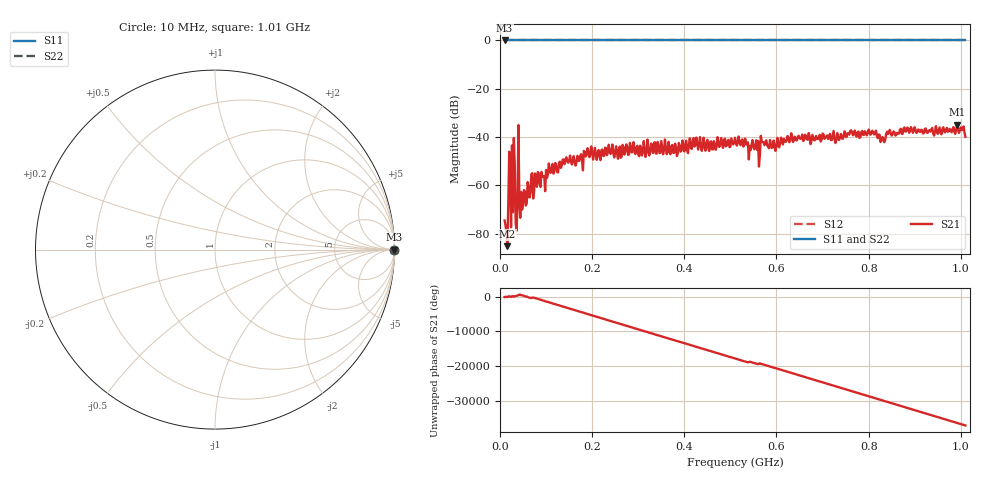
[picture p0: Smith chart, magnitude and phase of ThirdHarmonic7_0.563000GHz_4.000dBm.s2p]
! 8/17/2025 5:16:27 PM
! C:\ANRITSUVNA\TEMP\TEMP.S2P
! CHANNEL.1
! TR.MEASUREMENT
! RAW.DATA
! RF.CORRECTION.OFF
! AVERAGING.OFF
! IF.BANDWIDTH: 5KHZ
! SWEEPTYPE:  FREQ.SWEEP(Linear)
! Reference Plane Port Info
! PORT:  PORT1  PORT2
! DISTANCE:  0  m  0  m
! TIME:  0  s  0  s
! PHASE.OFFSET:  0  deg.  0  deg.
! LOSS:  0  dB  0  dB
! REF.LOSS:  0  dB  0  dB
! REF.FREQ:  0  Hz  0  Hz
! Power Info
! POWER:  -20  dBm  -20  dBm
! EFF.POWER:  -20  dBm  -20  dBm
! SOURCE.ATTEN:  0  dB  0  dB
! TEST.ATTEN:  0  dB  0  dB
# GHZ S RI R 50.0
! FREQ.GHZ  S11RE  S11IM  S21RE  S21IM  S12RE  S12IM  S22RE  S22IM
!; PortSelection: Port_12
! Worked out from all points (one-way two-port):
!   501 points, 10 MHz to 1.01 GHz, reference 50 ohm
!   highest |S21| = -34.94 dB at 992 MHz (marker M1); lowest = -85.2 dB at 16 MHz (marker M2)
!   lowest |S11| = 0.0 dB at 10 MHz (marker M3)
!   |S11| at or under -10 dB: nowhere
!   |S22| runs from 0.0 to 0.0 dB; largest |S21 - S12| = 1
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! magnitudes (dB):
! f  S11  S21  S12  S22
! 10 MHz  0.0  -74.6  0.0  0.0
! 14 MHz  0.0  -79.8  0.0  0.0
! 16 MHz  0.0  -85.2  0.0  0.0
! 20 MHz  0.0  -46.1  0.0  0.0
! 22 MHz  0.0  -55.4  0.0  0.0
! 30 MHz  0.0  -40.4  0.0  0.0
! 32 MHz  0.0  -51.3  0.0  0.0
! 44 MHz  0.0  -73.5  0.0  0.0
! 46 MHz  0.0  -62.7  0.0  0.0
! 80 MHz  0.0  -60.6  0.0  0.0
! 178 MHz  0.0  -49.5  0.0  0.0
! 286 MHz  0.0  -46.4  0.0  0.0
! 344 MHz  0.0  -43.2  0.0  0.0
! 510 MHz  0.0  -40.3  0.0  0.0
! 560 MHz  0.0  -41.7  0.0  0.0
! 570 MHz  0.0  -42.1  0.0  0.0
! 678 MHz  0.0  -39.1  0.0  0.0
! 804 MHz  0.0  -39.1  0.0  0.0
! 830 MHz  0.0  -40.0  0.0  0.0
! 844 MHz  0.0  -38.2  0.0  0.0
! 992 MHz  0.0  -34.9  0.0  0.0
! 1.01 GHz  0.0  -39.9  0.0  0.0
